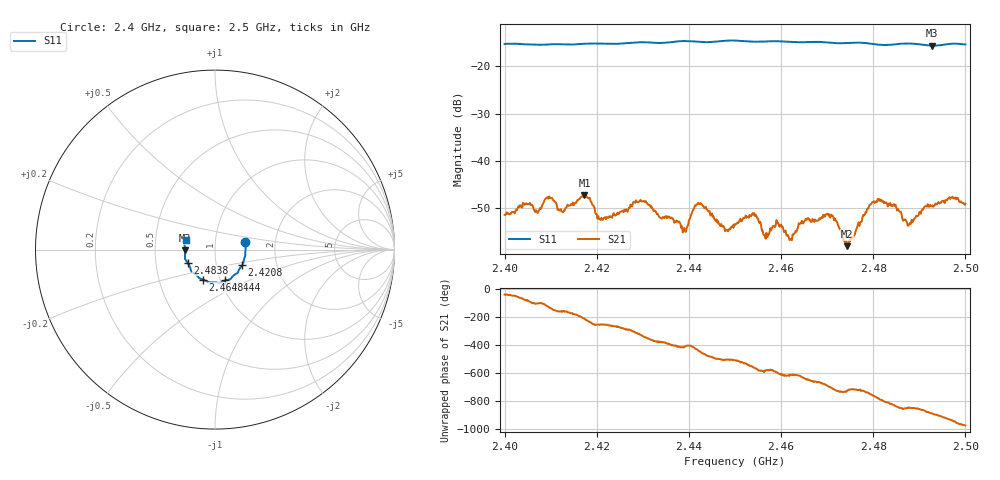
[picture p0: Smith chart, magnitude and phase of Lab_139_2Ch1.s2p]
# Hz S RI R 50
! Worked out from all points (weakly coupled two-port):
!   601 points, 2.4 GHz to 2.5 GHz, reference 50 ohm
!   highest |S21| = -47.27 dB at 2.4173 GHz (marker M1); lowest = -58.1 dB at 2.4743 GHz (marker M2)
!   lowest |S11| = -15.6 dB at 2.4928 GHz (marker M3), VSWR 1.40, Z = 35.8 - j0.346 ohm
!   |S11| at or under -10 dB: start of sweep to end of sweep
!   S12 and S22 are empty: the file has one direction only
!   S11 on the Smith chart (normalised r, x): 2.4 GHz: 1.40, +0.12; 2.4208 GHz: 1.33, -0.24; 2.444 GHz: 1.06, -0.37; 2.4648 GHz: 0.83, -0.28; 2.4838 GHz: 0.73, -0.11; 2.5 GHz: 0.72, +0.08
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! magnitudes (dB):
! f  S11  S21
! 2.4 GHz  -15.3  -51.5
! 2.4167 GHz  -15.2  -47.6
! 2.4173 GHz  -15.2  -47.3
! 2.4208 GHz  -15.2  -52.5
! 2.4298 GHz  -14.9  -48.6
! 2.4333 GHz  -15.0  -51.5
! 2.4392 GHz  -14.6  -55.0
! 2.4417 GHz  -14.8  -49.3
! 2.444 GHz  -14.9  -50.4
! 2.45 GHz  -14.5  -53.7
! 2.4542 GHz  -14.8  -51.1
! 2.4618 GHz  -14.8  -56.8
! 2.4648 GHz  -14.9  -53.3
! 2.4667 GHz  -14.8  -53.0
! 2.4708 GHz  -15.0  -51.4
! 2.4743 GHz  -15.1  -58.1
! 2.4797 GHz  -15.2  -49.0
! 2.4833 GHz  -15.5  -49.1
! 2.4838 GHz  -15.4  -49.5
! 2.4877 GHz  -15.1  -53.7
! 2.4928 GHz  -15.6  -49.5
! 2.5 GHz  -15.4  -49.1
